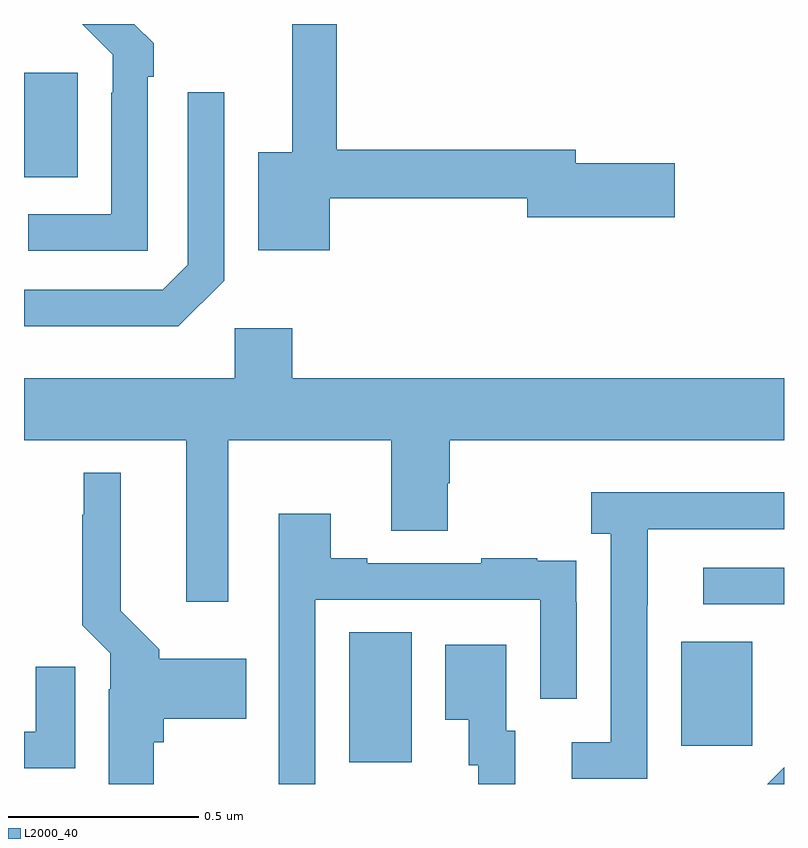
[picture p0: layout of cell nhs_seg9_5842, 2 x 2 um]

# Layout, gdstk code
import gdstk
lib = gdstk.Library(unit=1e-6, precision=1e-09)
def R(c, l, rs):  # rectangles x0, y0, x1, y1
    for r in rs: c.add(gdstk.rectangle(r[:2], r[2:], *l))
def P(c, l, *ps):  # polygons
    for p in ps: c.add(gdstk.Polygon(p, *l))
L2000_40 = (2000, 40)

nhs_seg9_5842 = lib.new_cell('nhs_seg9_5842')
R(nhs_seg9_5842, L2000_40, [(184.856,1211.557,185.02,1211.9), (185.729,1211.601,185.917,1211.875), (185.787,1211.973,186,1212.069), (184,1213.097,184.141,1213.372)])
P(nhs_seg9_5842, L2000_40, [(184.326,1213.361),(184.341,1213.361),(184.341,1213.449),(184.29,1213.5),(184.153,1213.5),(184.233,1213.419),(184.233,1213.319),(184.23,1213.319),(184.23,1212.999),(184.011,1212.999),(184.011,1212.903),(184.326,1212.903)],
  [(184.804,1213.041),(185.324,1213.041),(185.324,1212.991),(185.713,1212.991),(185.713,1213.133),(185.452,1213.133),(185.452,1213.169),(184.823,1213.169),(184.823,1213.5),(184.706,1213.5),(184.706,1213.162),(184.616,1213.162),(184.616,1212.905),(184.804,1212.905)],
  [(184.527,1212.825),(184.527,1213.321),(184.431,1213.321),(184.431,1212.867),(184.365,1212.801),(184,1212.801),(184,1212.704),(184.406,1212.704)],
  [(184.537,1212.404),(184.967,1212.404),(184.967,1212.166),(185.115,1212.166),(185.115,1212.291),(185.12,1212.291),(185.12,1212.404),(186,1212.404),(186,1212.568),(184.706,1212.568),(184.706,1212.7),(184.554,1212.7),(184.554,1212.568),(184,1212.568),(184,1212.404),(184.427,1212.404),(184.427,1211.979),(184.537,1211.979)],
  [(184.342,1211.61),(184.368,1211.61),(184.368,1211.672),(184.585,1211.672),(184.585,1211.83),(184.356,1211.83),(184.356,1211.854),(184.255,1211.956),(184.255,1212.319),(184.157,1212.319),(184.157,1212.209),(184.153,1212.209),(184.153,1211.918),(184.227,1211.844),(184.227,1211.75),(184.223,1211.75),(184.223,1211.5),(184.342,1211.5)],
  [(185.64,1211.971),(185.641,1211.971),(185.641,1212.171),(186,1212.171),(186,1212.268),(185.493,1212.268),(185.493,1212.158),(185.544,1212.158),(185.544,1211.61),(185.442,1211.61),(185.442,1211.514),(185.64,1211.514)],
  [(184.767,1211.985),(185.358,1211.985),(185.358,1211.724),(185.454,1211.724),(185.454,1211.978),(185.453,1211.978),(185.453,1212.087),(185.351,1212.087),(185.351,1212.094),(185.203,1212.094),(185.203,1212.081),(184.903,1212.081),(184.903,1212.094),(184.807,1212.094),(184.807,1212.211),(184.67,1212.211),(184.67,1211.988),(184.671,1211.988),(184.671,1211.576),(184.67,1211.576),(184.67,1211.5),(184.767,1211.5)],
  [(185.293,1211.64),(185.269,1211.64),(185.269,1211.866),(185.108,1211.866),(185.108,1211.669),(185.171,1211.669),(185.171,1211.55),(185.196,1211.55),(185.196,1211.5),(185.293,1211.5)],
  [(184.135,1211.809),(184.031,1211.809),(184.031,1211.637),(184,1211.637),(184,1211.541),(184.135,1211.541)],
  [(186,1211.544),(185.956,1211.5),(186,1211.5)])

lib.write_gds('nhs_seg9_5842.gds')
